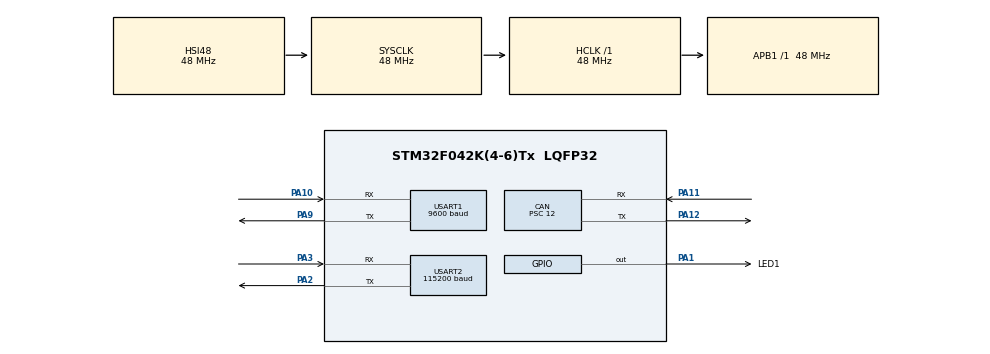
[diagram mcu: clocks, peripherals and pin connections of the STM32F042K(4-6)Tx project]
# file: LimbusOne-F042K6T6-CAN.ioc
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CAN.BS1=CAN_BS1_4TQ
CAN.BS2=CAN_BS2_3TQ
CAN.CalculateBaudRate=500000
CAN.CalculateTimeBit=2000
CAN.CalculateTimeQuantum=250.0
CAN.Prescaler=12
CAN.SJW=CAN_SJW_1TQ
Mcu.Family=STM32F0
Mcu.Name=STM32F042K(4-6)Tx
Mcu.Package=LQFP32
NVIC.CEC_CAN_IRQn=true\:0\:0\:false\:false\:true\:true\:true\:true
PA1.GPIO_Label=LED1
PA1.Signal=GPIO_Output
PA10.Mode=Asynchronous
PA10.Signal=USART1_RX
PA11.GPIO_PuPd=GPIO_NOPULL
PA11.Mode=CAN_Activate
PA11.Signal=CAN_RX
PA12.GPIO_PuPd=GPIO_NOPULL
PA12.Mode=CAN_Activate
PA12.Signal=CAN_TX
PA13.Mode=Serial_Wire
PA13.Signal=SYS_SWDIO
PA14.Mode=Serial_Wire
PA14.Signal=SYS_SWCLK
PA2.Mode=Asynchronous
PA2.Signal=USART2_TX
PA3.Mode=Asynchronous
PA3.Signal=USART2_RX
PA9.Mode=Asynchronous
PA9.Signal=USART1_TX
ProjectManager.HeapSize=0x200
ProjectManager.StackSize=0x400
ProjectManager.TargetToolchain=STM32CubeIDE
RCC.AHBFreq_Value=48000000
RCC.APB1Freq_Value=48000000
RCC.APB1TimFreq_Value=48000000
RCC.HCLKFreq_Value=48000000
RCC.SYSCLKFreq_VALUE=48000000
RCC.SYSCLKSource=RCC_SYSCLKSOURCE_HSI48
RCC.Usart1ClockSelection=RCC_USART1CLKSOURCE_SYSCLK
USART1.BaudRate=9600
USART1.VirtualMode-Asynchronous=VM_ASYNC
USART2.BaudRate=115200
USART2.VirtualMode-Asynchronous=VM_ASYNC
board=custom

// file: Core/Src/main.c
/* USER CODE BEGIN Header */
/**
 ******************************************************************************
 * @file           : main.c
 * @brief          : Main program body
 ******************************************************************************
 * @attention
 *
 * Copyright (c) 2024 STMicroelectronics.
 * All rights reserved.
 *
 * This software is licensed under terms that can be found in the LICENSE file
 * in the root directory of this software component.
 * If no LICENSE file comes with this software, it is provided AS-IS.
 *
 ******************************************************************************
 */
/* USER CODE END Header */
#include "main.h"
#include "can.h"
#include "usart.h"
#include "gpio.h"

void SystemClock_Config(void);

int main(void)
{

  /* MCU Configuration--------------------------------------------------------*/

  /* Reset of all peripherals, Initializes the Flash interface and the Systick. */
  HAL_Init();

  /* Configure the system clock */
  SystemClock_Config();

  /* Initialize all configured peripherals */
  MX_GPIO_Init();
  MX_CAN_Init();
  MX_USART1_UART_Init();
  MX_USART2_UART_Init();
  /* USER CODE BEGIN 2 */

	// 1) init can -> done in cube mx
	// 2) configure can filter -> no filters for this demo all can messages are allowed to pass
  	  CAN_FilterTypeDef sFilterConfig;
  	  sFilterConfig.FilterMode = CAN_FILTERMODE_IDMASK;
  	  sFilterConfig.FilterScale = CAN_FILTERSCALE_32BIT;
  	  sFilterConfig.FilterIdHigh = 0x00;
  	  sFilterConfig.FilterIdLow = 0x00;
  	  sFilterConfig.FilterMaskIdHigh = 0x0;
  	  sFilterConfig.FilterMaskIdLow = 0x0;
  	  sFilterConfig.FilterFIFOAssignment = CAN_RX_FIFO0;
  	  sFilterConfig.FilterActivation = ENABLE;
  	  sFilterConfig.FilterBank = 0;
  	  HAL_CAN_ConfigFilter( &hcan, &sFilterConfig );

	// 3) activate interrupts
  	  HAL_StatusTypeDef can_state = 0;
  	can_state = HAL_CAN_ActivateNotification(&hcan, CAN_IT_RX_FIFO0_MSG_PENDING);
  	can_state = HAL_CAN_ActivateNotification(&hcan, CAN_IT_RX_FIFO1_MSG_PENDING);
  	can_state = HAL_CAN_ActivateNotification(&hcan, CAN_IT_RX_FIFO0_FULL);
  	can_state = HAL_CAN_ActivateNotification(&hcan, CAN_IT_RX_FIFO0_OVERRUN);
  	can_state = HAL_CAN_ActivateNotification(&hcan, CAN_IT_ERROR);

	// 4) start can hardware
  	can_state = HAL_CAN_Start(&hcan);

  /* USER CODE END 2 */

  /* Infinite loop */
	while (1) {

    /* USER CODE BEGIN 3 */

		/*
		 * canID => CAN Identifier 11Bit or 29Bit
		 * extID => 0 = Standard, 1 = Extended
		 * aData = Payload, pointer to byte array
		 * DLC = Data length code, must be  <= 8
		 * */
		CAN_TxHeaderTypeDef sTxHeader;
		HAL_StatusTypeDef can_tx_rx_status;

		// choose standard or extended CAN identifier type
		uint8_t extID = 0;
		// choose CAN identifier
		uint32_t canID = 0x101;
		uint32_t tx_mailbox = 0;

		uint8_t DLC = 8;
		uint8_t aData[8] = { 'R', 'O', 'L', 'L', 'E', 'N', 'R', 'A'};

		if (extID) {
			sTxHeader.StdId = 0;
			sTxHeader.ExtId = canID;
			sTxHeader.IDE = CAN_ID_EXT;
		} else {
			sTxHeader.StdId = canID;
			sTxHeader.ExtId = 0;
			sTxHeader.IDE = CAN_ID_STD;
		}
		/* Data Length Code max. 8 byte */
		if (DLC <= 8) {
			sTxHeader.DLC = DLC;
		} else {
			sTxHeader.DLC = 8;
		}
		sTxHeader.RTR = CAN_RTR_DATA;
		sTxHeader.TransmitGlobalTime = DISABLE;
		can_tx_rx_status = HAL_CAN_AddTxMessage(&hcan, &sTxHeader, aData, &tx_mailbox);

		HAL_Delay(200);
		//HAL_GPIO_TogglePin(LED1_GPIO_Port, LED1_Pin);

	}
  /* USER CODE END 3 */
}

void SystemClock_Config(void)
{
  RCC_OscInitTypeDef RCC_OscInitStruct = {0};
  RCC_ClkInitTypeDef RCC_ClkInitStruct = {0};
  RCC_PeriphCLKInitTypeDef PeriphClkInit = {0};

  /** Initializes the RCC Oscillators according to the specified parameters
  * in the RCC_OscInitTypeDef structure.
  */
  RCC_OscInitStruct.OscillatorType = RCC_OSCILLATORTYPE_HSI48;
  RCC_OscInitStruct.HSI48State = RCC_HSI48_ON;
  RCC_OscInitStruct.PLL.PLLState = RCC_PLL_NONE;
  if (HAL_RCC_OscConfig(&RCC_OscInitStruct) != HAL_OK)
  {
    Error_Handler();
  }

  /** Initializes the CPU, AHB and APB buses clocks
  */
  RCC_ClkInitStruct.ClockType = RCC_CLOCKTYPE_HCLK|RCC_CLOCKTYPE_SYSCLK
                              |RCC_CLOCKTYPE_PCLK1;
  RCC_ClkInitStruct.SYSCLKSource = RCC_SYSCLKSOURCE_HSI48;
  RCC_ClkInitStruct.AHBCLKDivider = RCC_SYSCLK_DIV1;
  RCC_ClkInitStruct.APB1CLKDivider = RCC_HCLK_DIV1;

  if (HAL_RCC_ClockConfig(&RCC_ClkInitStruct, FLASH_LATENCY_1) != HAL_OK)
  {
    Error_Handler();
  }
  PeriphClkInit.PeriphClockSelection = RCC_PERIPHCLK_USART1;
  PeriphClkInit.Usart1ClockSelection = RCC_USART1CLKSOURCE_SYSCLK;
  if (HAL_RCCEx_PeriphCLKConfig(&PeriphClkInit) != HAL_OK)
  {
    Error_Handler();
  }
}

/* USER CODE BEGIN 4 */

// 5) action on CAN-RX-interrupt
void HAL_CAN_RxFifo0MsgPendingCallback(CAN_HandleTypeDef *hcan) {
	CAN_RxHeaderTypeDef sRxHeader = {0};
	HAL_StatusTypeDef tx_rx_status;
	uint8_t rx_data[8];
	if (hcan->Instance == CAN) {
		/* pick up incoming data and release the CAN Peripheral */
		tx_rx_status = HAL_CAN_GetRxMessage(hcan, CAN_RX_FIFO0, &sRxHeader, rx_data);

		// do stuff with header (metadata)
		sRxHeader.DLC;
		sRxHeader.ExtId;
		sRxHeader.FilterMatchIndex;
		sRxHeader.IDE;
		sRxHeader.RTR;
		sRxHeader.StdId;
		sRxHeader.Timestamp;

		// do stuff with payload

		// indicate something going on on can-interrupts
		HAL_GPIO_TogglePin(LED1_GPIO_Port, LED1_Pin);

	}
}

void HAL_CAN_RxFifo1MsgPendingCallback(CAN_HandleTypeDef *hcan) {
	// indicate something going on on can-interrupts
	//HAL_GPIO_TogglePin(LED1_GPIO_Port, LED1_Pin);
}

void HAL_CAN_RxFifo0FullCallback(CAN_HandleTypeDef *hcan) {
	// todo
	//HAL_GPIO_TogglePin(LED1_GPIO_Port, LED1_Pin);
}

void HAL_CAN_ErrorCallback(CAN_HandleTypeDef *hcan) {
	uint32_t error = hcan->ErrorCode;
	// todo
	//HAL_GPIO_TogglePin(LED1_GPIO_Port, LED1_Pin);
}

/* USER CODE END 4 */

void Error_Handler(void)
{
	__disable_irq();
	while (1) {
	}
}
